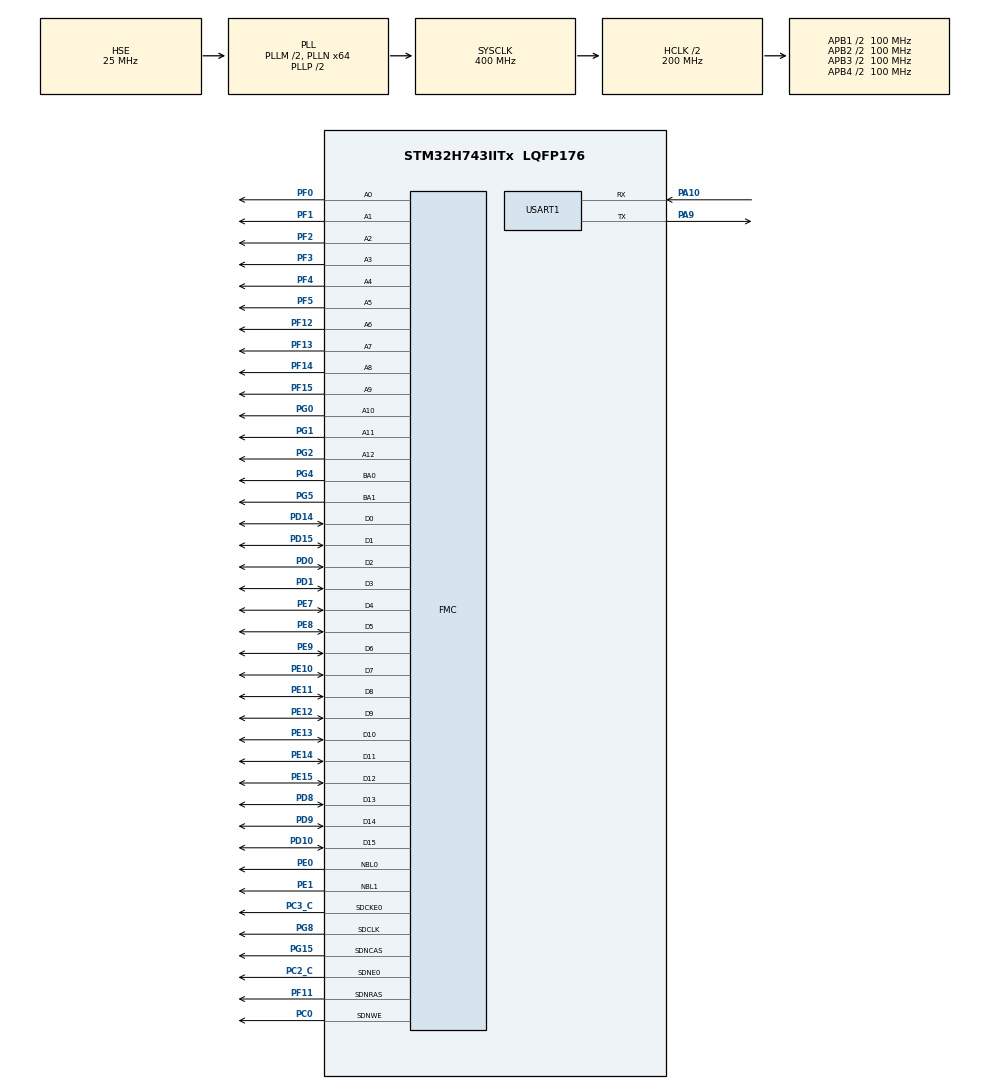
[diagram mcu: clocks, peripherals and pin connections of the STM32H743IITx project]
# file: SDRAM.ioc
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FMC.CASLatency1=FMC_SDRAM_CAS_LATENCY_2
FMC.ColumnBitsNumber1=FMC_SDRAM_COLUMN_BITS_NUM_9
FMC.ExitSelfRefreshDelay1=8
FMC.LoadToActiveDelay1=2
FMC.RCDDelay1=2
FMC.RPDelay1=2
FMC.ReadBurst1=FMC_SDRAM_RBURST_ENABLE
FMC.ReadPipeDelay1=FMC_SDRAM_RPIPE_DELAY_1
FMC.RowCycleDelay1=6
FMC.SDClockPeriod1=FMC_SDRAM_CLOCK_PERIOD_2
FMC.SelfRefreshTime1=6
FMC.WriteRecoveryTime1=4
Mcu.Family=STM32H7
Mcu.Name=STM32H743IITx
Mcu.Package=LQFP176
NVIC.PriorityGroup=NVIC_PRIORITYGROUP_4
PA10.Mode=Asynchronous
PA10.Signal=USART1_RX
PA9.Mode=Asynchronous
PA9.Signal=USART1_TX
PC0.Signal=FMC_SDNWE
PC2_C.Mode=SdramChipSelect1_1
PC2_C.Signal=FMC_SDNE0
PC3_C.Mode=SdramChipSelect1_1
PC3_C.Signal=FMC_SDCKE0
PD0.Signal=FMC_D2_DA2
PD1.Signal=FMC_D3_DA3
PD10.Signal=FMC_D15_DA15
PD14.Signal=FMC_D0_DA0
PD15.Signal=FMC_D1_DA1
PD8.Signal=FMC_D13_DA13
PD9.Signal=FMC_D14_DA14
PE0.Signal=FMC_NBL0
PE1.Signal=FMC_NBL1
PE10.Signal=FMC_D7_DA7
PE11.Signal=FMC_D8_DA8
PE12.Signal=FMC_D9_DA9
PE13.Signal=FMC_D10_DA10
PE14.Signal=FMC_D11_DA11
PE15.Signal=FMC_D12_DA12
PE7.Signal=FMC_D4_DA4
PE8.Signal=FMC_D5_DA5
PE9.Signal=FMC_D6_DA6
PF0.Signal=FMC_A0
PF1.Signal=FMC_A1
PF11.Signal=FMC_SDNRAS
PF12.Signal=FMC_A6
PF13.Signal=FMC_A7
PF14.Signal=FMC_A8
PF15.Signal=FMC_A9
PF2.Signal=FMC_A2
PF3.Signal=FMC_A3
PF4.Signal=FMC_A4
PF5.Signal=FMC_A5
PG0.Signal=FMC_A10
PG1.Signal=FMC_A11
PG15.Signal=FMC_SDNCAS
PG2.Signal=FMC_A12
PG4.Signal=FMC_A14_BA0
PG5.Signal=FMC_A15_BA1
PG8.Signal=FMC_SDCLK
PH0-OSC_IN\ (PH0).Mode=HSE-External-Oscillator
PH0-OSC_IN\ (PH0).Signal=RCC_OSC_IN
PH1-OSC_OUT\ (PH1).Mode=HSE-External-Oscillator
PH1-OSC_OUT\ (PH1).Signal=RCC_OSC_OUT
ProjectManager.HeapSize=0x200
ProjectManager.StackSize=0x400
ProjectManager.TargetToolchain=MDK-ARM V5
RCC.ADCFreq_Value=50390625
RCC.APB1Freq_Value=100000000
RCC.APB2Freq_Value=100000000
RCC.APB3Freq_Value=100000000
RCC.APB4Freq_Value=100000000
RCC.CortexFreq_Value=400000000
RCC.D1PPRE=RCC_APB3_DIV2
RCC.D2PPRE1=RCC_APB1_DIV2
RCC.D2PPRE2=RCC_APB2_DIV2
RCC.D3PPRE=RCC_APB4_DIV2
RCC.DIVM1=2
RCC.DIVN1=64
RCC.HCLKFreq_Value=200000000
RCC.HPRE=RCC_HCLK_DIV2
RCC.PLLFRACN=0
RCC.PLLSourceVirtual=RCC_PLLSOURCE_HSE
RCC.PWR_Regulator_Voltage_Scale=PWR_REGULATOR_VOLTAGE_SCALE1
RCC.SYSCLKFreq_VALUE=400000000
RCC.SYSCLKSource=RCC_SYSCLKSOURCE_PLLCLK
RCC.SupplySource=PWR_LDO_SUPPLY
RCC.USBFreq_Value=400000000
SH.FMC_A0.0=FMC_A0,13b-sda1
SH.FMC_A1.0=FMC_A1,13b-sda1
SH.FMC_A10.0=FMC_A10,13b-sda1
SH.FMC_A11.0=FMC_A11,13b-sda1
SH.FMC_A12.0=FMC_A12,13b-sda1
SH.FMC_A14_BA0.0=FMC_BA0,FourSdramBanks1
SH.FMC_A15_BA1.0=FMC_BA1,FourSdramBanks1
SH.FMC_A2.0=FMC_A2,13b-sda1
SH.FMC_A3.0=FMC_A3,13b-sda1
SH.FMC_A4.0=FMC_A4,13b-sda1
SH.FMC_A5.0=FMC_A5,13b-sda1
SH.FMC_A6.0=FMC_A6,13b-sda1
SH.FMC_A7.0=FMC_A7,13b-sda1
SH.FMC_A8.0=FMC_A8,13b-sda1
SH.FMC_A9.0=FMC_A9,13b-sda1
SH.FMC_D0_DA0.0=FMC_D0,sd-16b-d1
SH.FMC_D10_DA10.0=FMC_D10,sd-16b-d1
SH.FMC_D11_DA11.0=FMC_D11,sd-16b-d1
SH.FMC_D12_DA12.0=FMC_D12,sd-16b-d1
SH.FMC_D13_DA13.0=FMC_D13,sd-16b-d1
SH.FMC_D14_DA14.0=FMC_D14,sd-16b-d1
SH.FMC_D15_DA15.0=FMC_D15,sd-16b-d1
SH.FMC_D1_DA1.0=FMC_D1,sd-16b-d1
SH.FMC_D2_DA2.0=FMC_D2,sd-16b-d1
SH.FMC_D3_DA3.0=FMC_D3,sd-16b-d1
SH.FMC_D4_DA4.0=FMC_D4,sd-16b-d1
SH.FMC_D5_DA5.0=FMC_D5,sd-16b-d1
SH.FMC_D6_DA6.0=FMC_D6,sd-16b-d1
SH.FMC_D7_DA7.0=FMC_D7,sd-16b-d1
SH.FMC_D8_DA8.0=FMC_D8,sd-16b-d1
SH.FMC_D9_DA9.0=FMC_D9,sd-16b-d1
SH.FMC_NBL0.0=FMC_NBL0,Sd2ByteEnable1
SH.FMC_NBL1.0=FMC_NBL1,Sd2ByteEnable1
SH.FMC_SDCLK.0=FMC_SDCLK,13b-sda1
SH.FMC_SDNCAS.0=FMC_SDNCAS,13b-sda1
SH.FMC_SDNRAS.0=FMC_SDNRAS,13b-sda1
SH.FMC_SDNWE.0=FMC_SDNWE,13b-sda1
USART1.VirtualMode-Asynchronous=VM_ASYNC
board=custom

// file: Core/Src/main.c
/* USER CODE BEGIN Header */
/**
  ******************************************************************************
  * @file           : main.c
  * @brief          : Main program body
  ******************************************************************************
  * @attention
  *
  * Copyright (c) 2022 STMicroelectronics.
  * All rights reserved.
  *
  * This software is licensed under terms that can be found in the LICENSE file
  * in the root directory of this software component.
  * If no LICENSE file comes with this software, it is provided AS-IS.
  *
  ******************************************************************************
  */
/* USER CODE END Header */
#include "main.h"
#include "usart.h"
#include "gpio.h"
#include "fmc.h"

/* USER CODE BEGIN PTD */
//初始化PB0,PB1为输出.并使能这两个口的时钟
//LED IO初始化
void LED_Init(void)
{
    GPIO_InitTypeDef GPIO_Initure;
    __HAL_RCC_GPIOB_CLK_ENABLE();					//开启GPIOB时钟

    GPIO_Initure.Pin=GPIO_PIN_0|GPIO_PIN_1;			//PB0，1
    GPIO_Initure.Mode=GPIO_MODE_OUTPUT_PP;  		//推挽输出
    GPIO_Initure.Pull=GPIO_PULLUP;         			//上拉
    GPIO_Initure.Speed=GPIO_SPEED_FREQ_VERY_HIGH;  	//高速
    HAL_GPIO_Init(GPIOB,&GPIO_Initure);     		//初始化GPIOB.0和GPIOB.1

    HAL_GPIO_WritePin(GPIOB,GPIO_PIN_0,GPIO_PIN_SET);	//PB0置0
	HAL_GPIO_WritePin(GPIOB,GPIO_PIN_1,GPIO_PIN_SET);	//PB1置1
}

/* USER CODE END PTD */

/* USER CODE BEGIN PV */

uint16_t testsram[250000] __attribute__((at(0XC0000000)));//测试用数组

//SDRAM内存测试
void fsmc_sdram_test()
{
	__IO uint32_t i=0;
	__IO uint32_t temp=0;
	__IO uint32_t sval=0;	//在地址0读到的数据

	//每隔16K字节,写入一个数据,总共写入2048个数据,刚好是32M字节
	for(i=0;i<32*1024*1024;i+=16*1024)
	{
		*(__IO uint32_t*)(SDRAM_BANK_ADDR+i)=temp;
		temp++;
	}
	//依次读出之前写入的数据,进行校验
 	for(i=0;i<32*1024*1024;i+=16*1024)
	{
  		temp=*(__IO uint32_t*)(SDRAM_BANK_ADDR+i);
		if(i==0)sval=temp;
 		else if(temp<=sval)break;//后面读出的数据一定要比第一次读到的数据大.
		printf("SDRAM Capacity:%dKB\r\n",(uint16_t)(temp-sval+1)*16);//打印SDRAM容量
 	}
}
/* USER CODE END PV */

void SystemClock_Config(void);

int main(void)
{

  /* MCU Configuration--------------------------------------------------------*/

  /* Reset of all peripherals, Initializes the Flash interface and the Systick. */
  HAL_Init();

  /* Configure the system clock */
  SystemClock_Config();

  /* Initialize all configured peripherals */
  MX_GPIO_Init();
  MX_FMC_Init();
  MX_USART1_UART_Init();
  /* USER CODE BEGIN 2 */
  LED_Init();
  	uint32_t ts=0;
    for(ts=0;ts<250000;ts++)
	{
		testsram[ts]=ts;//预存测试数据
  	}
    HAL_Delay(2000);
	fsmc_sdram_test();
	HAL_Delay(2000);

		for(ts=0;ts<250000;ts++)
	{
		printf("testsram[%d]:%d\r\n",ts,testsram[ts]);
	}

  /* USER CODE END 2 */

  /* Infinite loop */

  /* USER CODE BEGIN WHILE */
  while (1)
  {

	  HAL_GPIO_WritePin(GPIOB,GPIO_PIN_0,GPIO_PIN_SET);	//PB0置1
	  HAL_Delay(500);
	  HAL_GPIO_WritePin(GPIOB,GPIO_PIN_0,GPIO_PIN_RESET);	//PB0置0
	  HAL_Delay(500);
    /* USER CODE END WHILE */

  }
}

void SystemClock_Config(void)
{
  RCC_OscInitTypeDef RCC_OscInitStruct = {0};
  RCC_ClkInitTypeDef RCC_ClkInitStruct = {0};

  /** Supply configuration update enable
  */
  HAL_PWREx_ConfigSupply(PWR_LDO_SUPPLY);
  /** Configure the main internal regulator output voltage
  */
  __HAL_PWR_VOLTAGESCALING_CONFIG(PWR_REGULATOR_VOLTAGE_SCALE1);

  while(!__HAL_PWR_GET_FLAG(PWR_FLAG_VOSRDY)) {}
  /** Initializes the RCC Oscillators according to the specified parameters
  * in the RCC_OscInitTypeDef structure.
  */
  RCC_OscInitStruct.OscillatorType = RCC_OSCILLATORTYPE_HSE;
  RCC_OscInitStruct.HSEState = RCC_HSE_ON;
  RCC_OscInitStruct.PLL.PLLState = RCC_PLL_ON;
  RCC_OscInitStruct.PLL.PLLSource = RCC_PLLSOURCE_HSE;
  RCC_OscInitStruct.PLL.PLLM = 2;
  RCC_OscInitStruct.PLL.PLLN = 64;
  RCC_OscInitStruct.PLL.PLLP = 2;
  RCC_OscInitStruct.PLL.PLLQ = 2;
  RCC_OscInitStruct.PLL.PLLR = 2;
  RCC_OscInitStruct.PLL.PLLRGE = RCC_PLL1VCIRANGE_3;
  RCC_OscInitStruct.PLL.PLLVCOSEL = RCC_PLL1VCOWIDE;
  RCC_OscInitStruct.PLL.PLLFRACN = 0;
  if (HAL_RCC_OscConfig(&RCC_OscInitStruct) != HAL_OK)
  {
    Error_Handler();
  }
  /** Initializes the CPU, AHB and APB buses clocks
  */
  RCC_ClkInitStruct.ClockType = RCC_CLOCKTYPE_HCLK|RCC_CLOCKTYPE_SYSCLK
                              |RCC_CLOCKTYPE_PCLK1|RCC_CLOCKTYPE_PCLK2
                              |RCC_CLOCKTYPE_D3PCLK1|RCC_CLOCKTYPE_D1PCLK1;
  RCC_ClkInitStruct.SYSCLKSource = RCC_SYSCLKSOURCE_PLLCLK;
  RCC_ClkInitStruct.SYSCLKDivider = RCC_SYSCLK_DIV1;
  RCC_ClkInitStruct.AHBCLKDivider = RCC_HCLK_DIV2;
  RCC_ClkInitStruct.APB3CLKDivider = RCC_APB3_DIV2;
  RCC_ClkInitStruct.APB1CLKDivider = RCC_APB1_DIV2;
  RCC_ClkInitStruct.APB2CLKDivider = RCC_APB2_DIV2;
  RCC_ClkInitStruct.APB4CLKDivider = RCC_APB4_DIV2;

  if (HAL_RCC_ClockConfig(&RCC_ClkInitStruct, FLASH_LATENCY_2) != HAL_OK)
  {
    Error_Handler();
  }
}

void Error_Handler(void)
{
  __disable_irq();
  while (1)
  {
  }
}
